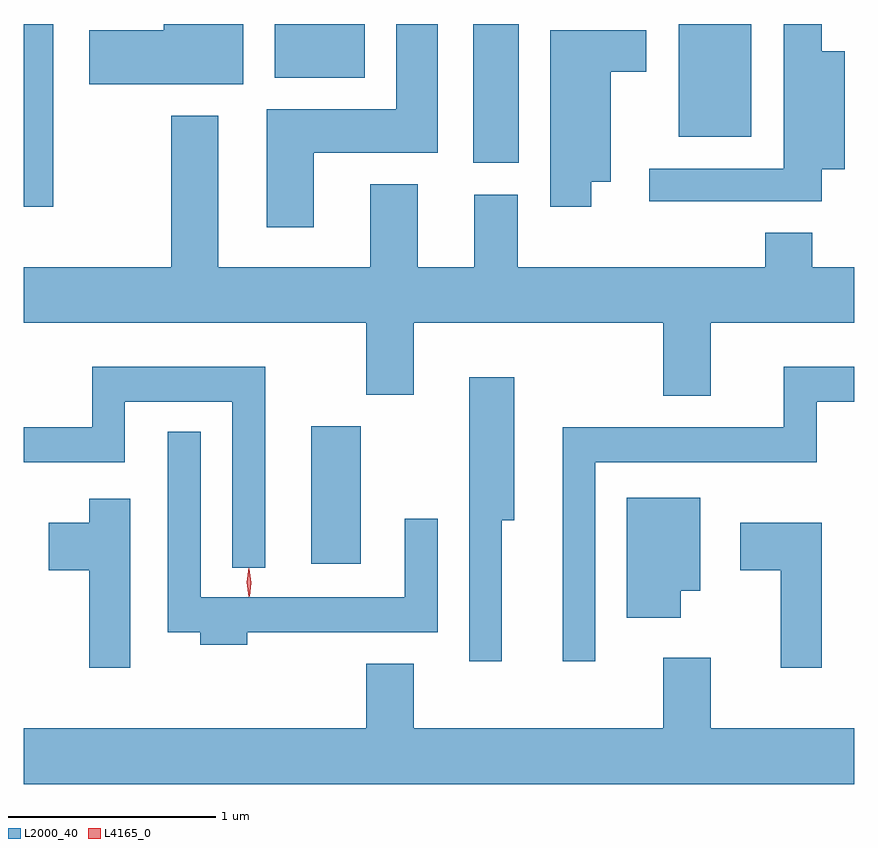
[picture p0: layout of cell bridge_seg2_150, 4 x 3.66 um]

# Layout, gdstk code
import gdstk
lib = gdstk.Library(unit=1e-6, precision=1e-09)
def R(c, l, rs):  # rectangles x0, y0, x1, y1
    for r in rs: c.add(gdstk.rectangle(r[:2], r[2:], *l))
def P(c, l, *ps):  # polygons
    for p in ps: c.add(gdstk.Polygon(p, *l))
L2000_40 = (2000, 40)
L4165_0 = (4165, 0)

bridge_seg2_150 = lib.new_cell('bridge_seg2_150')
R(bridge_seg2_150, L2000_40, [(1068.846,1104.876,1069.084,1105.539), (1067.461,1106.596,1067.604,1107.475), (1069.626,1106.806,1069.844,1107.475), (1070.616,1106.931,1070.964,1107.475), (1068.671,1107.216,1069.104,1107.475)])
P(bridge_seg2_150, L2000_40, [(1068.859,1106.856),(1069.454,1106.856),(1069.454,1107.475),(1069.256,1107.475),(1069.256,1107.064),(1068.631,1107.064),(1068.631,1106.496),(1068.859,1106.496)],
  [(1068.519,1107.475),(1068.136,1107.475),(1068.136,1107.444),(1067.776,1107.444),(1067.776,1107.186),(1068.519,1107.186)],
  [(1071.304,1106.776),(1071.414,1106.776),(1071.414,1107.344),(1071.304,1107.344),(1071.304,1107.475),(1071.121,1107.475),(1071.121,1106.779),(1070.473,1106.779),(1070.473,1106.621),(1071.304,1106.621)],
  [(1070.194,1106.716),(1070.289,1106.716),(1070.289,1107.246),(1070.459,1107.246),(1070.459,1107.444),(1069.996,1107.444),(1069.996,1106.596),(1070.194,1106.596)],
  [(1070.769,1106.036),(1071.461,1106.036),(1071.461,1106.304),(1071.259,1106.304),(1071.259,1106.469),(1071.031,1106.469),(1071.031,1106.304),(1069.839,1106.304),(1069.839,1106.654),(1069.631,1106.654),(1069.631,1106.304),(1069.359,1106.304),(1069.359,1106.704),(1069.131,1106.704),(1069.131,1106.304),(1068.399,1106.304),(1068.399,1107.034),(1068.171,1107.034),(1068.171,1106.304),(1067.461,1106.304),(1067.461,1106.036),(1069.111,1106.036),(1069.111,1105.691),(1069.339,1105.691),(1069.339,1106.036),(1070.541,1106.036),(1070.541,1105.686),(1070.769,1105.686)],
  [(1068.624,1105.824),(1067.791,1105.824),(1067.791,1105.534),(1067.461,1105.534),(1067.461,1105.366),(1067.949,1105.366),(1067.949,1105.656),(1068.466,1105.656),(1068.466,1104.858),(1068.624,1104.858)],
  [(1070.214,1105.366),(1071.279,1105.366),(1071.279,1105.656),(1071.461,1105.656),(1071.461,1105.824),(1071.121,1105.824),(1071.121,1105.534),(1070.056,1105.534),(1070.056,1104.408),(1070.214,1104.408)],
  [(1069.764,1105.086),(1069.824,1105.086),(1069.824,1105.774),(1069.606,1105.774),(1069.606,1104.408),(1069.764,1104.408)],
  [(1068.539,1104.546),(1069.454,1104.546),(1069.454,1105.093),(1069.296,1105.093),(1069.296,1104.714),(1068.314,1104.714),(1068.314,1105.513),(1068.156,1105.513),(1068.156,1104.546),(1068.311,1104.546),(1068.311,1104.486),(1068.539,1104.486)],
  [(1070.624,1104.746),(1070.719,1104.746),(1070.719,1105.194),(1070.366,1105.194),(1070.366,1104.616),(1070.624,1104.616)],
  [(1067.974,1105.189),(1067.776,1105.189),(1067.776,1105.074),(1067.581,1105.074),(1067.581,1104.846),(1067.776,1104.846),(1067.776,1104.376),(1067.974,1104.376)],
  [(1071.304,1105.074),(1070.911,1105.074),(1070.911,1104.846),(1071.106,1104.846),(1071.106,1104.376),(1071.304,1104.376)],
  [(1071.461,1104.084),(1070.769,1104.084),(1070.769,1104.424),(1070.541,1104.424),(1070.541,1104.084),(1069.339,1104.084),(1069.339,1104.394),(1069.111,1104.394),(1069.111,1104.084),(1067.461,1104.084),(1067.461,1103.816),(1071.461,1103.816)])
P(bridge_seg2_150, L4165_0, [(1068.545,1104.717),(1068.545,1104.717),(1068.535,1104.787),(1068.545,1104.856),(1068.545,1104.856),(1068.546,1104.856),(1068.555,1104.787),(1068.546,1104.717)],
  [(1068.548,1104.719),(1068.548,1104.72),(1068.538,1104.786),(1068.548,1104.852),(1068.548,1104.853),(1068.548,1104.852),(1068.558,1104.786),(1068.549,1104.72)])

lib.write_gds('bridge_seg2_150.gds')
